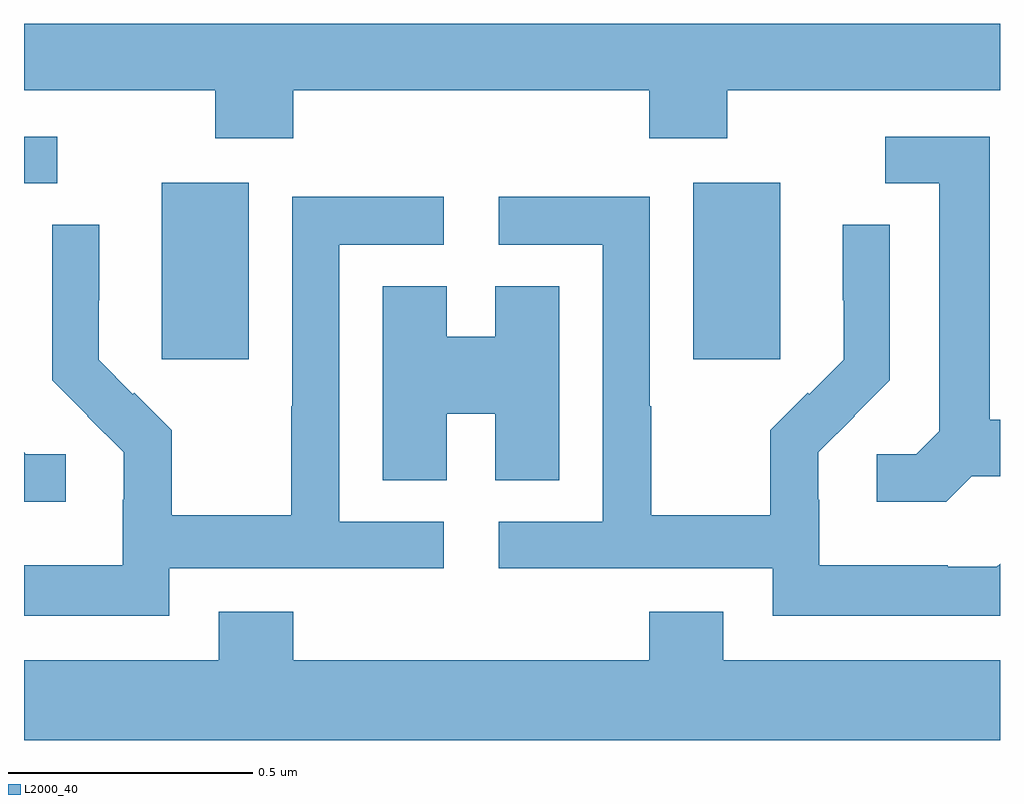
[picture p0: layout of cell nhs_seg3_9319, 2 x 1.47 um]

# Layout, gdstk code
import gdstk
lib = gdstk.Library(unit=1e-6, precision=1e-09)
def R(c, l, rs):  # rectangles x0, y0, x1, y1
    for r in rs: c.add(gdstk.rectangle(r[:2], r[2:], *l))
def P(c, l, *ps):  # polygons
    for p in ps: c.add(gdstk.Polygon(p, *l))
L2000_40 = (2000, 40)

nhs_seg3_9319 = lib.new_cell('nhs_seg3_9319')
R(nhs_seg3_9319, L2000_40, [(227.282,685.713,227.461,686.074), (228.371,685.713,228.55,686.074), (227,686.073,227.068,686.169)])
P(nhs_seg3_9319, L2000_40, [(227.552,686.264),(228.281,686.264),(228.281,686.165),(228.441,686.165),(228.441,686.264),(229,686.264),(229,686.4),(227,686.4),(227,686.264),(227.392,686.264),(227.392,686.165),(227.552,686.165)],
  [(228.942,685.473),(229,685.473),(229,685.589),(228.979,685.589),(228.979,686.169),(228.765,686.169),(228.765,686.073),(228.875,686.073),(228.875,685.565),(228.828,685.518),(228.747,685.518),(228.747,685.421),(228.89,685.421)],
  [(227.298,685.284),(227.86,685.284),(227.86,685.38),(227.646,685.38),(227.646,685.947),(227.86,685.947),(227.86,686.046),(227.55,686.046),(227.55,685.616),(227.548,685.616),(227.548,685.393),(227.303,685.393),(227.303,685.567),(227.226,685.644),(227.223,685.641),(227.153,685.712),(227.153,685.834),(227.154,685.834),(227.154,685.988),(227.058,685.988),(227.058,685.67),(227.131,685.597),(227.13,685.596),(227.204,685.522),(227.204,685.425),(227.202,685.425),(227.202,685.291),(227,685.291),(227,685.187),(227.298,685.187)],
  [(229,685.294),(228.993,685.287),(228.893,685.287),(228.893,685.291),(228.63,685.291),(228.63,685.425),(228.628,685.425),(228.628,685.522),(228.702,685.596),(228.701,685.597),(228.774,685.67),(228.774,685.988),(228.678,685.988),(228.678,685.834),(228.68,685.834),(228.68,685.712),(228.609,685.641),(228.606,685.644),(228.529,685.567),(228.529,685.393),(228.285,685.393),(228.285,685.616),(228.282,685.616),(228.282,686.046),(227.973,686.046),(227.973,685.947),(228.186,685.947),(228.186,685.38),(227.973,685.38),(227.973,685.284),(228.534,685.284),(228.534,685.187),(229,685.187)],
  [(227.866,685.601),(227.966,685.601),(227.966,685.465),(228.097,685.465),(228.097,685.862),(227.966,685.862),(227.966,685.759),(227.866,685.759),(227.866,685.862),(227.735,685.862),(227.735,685.465),(227.866,685.465)],
  [(227.086,685.518),(227.004,685.518),(227,685.522),(227,685.421),(227.086,685.421)],
  [(229,685.096),(228.433,685.096),(228.433,685.195),(228.281,685.195),(228.281,685.096),(227.552,685.096),(227.552,685.195),(227.399,685.195),(227.399,685.096),(227,685.096),(227,684.932),(229,684.932)])

lib.write_gds('nhs_seg3_9319.gds')
